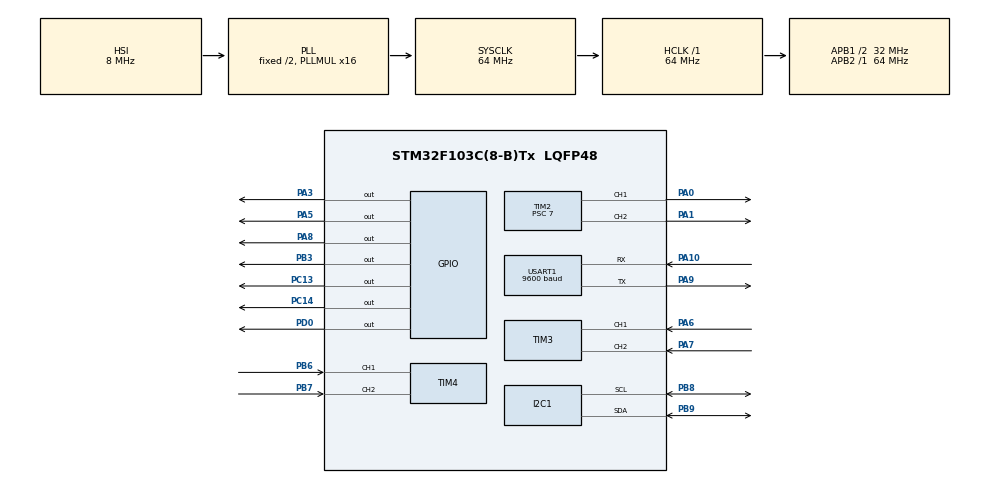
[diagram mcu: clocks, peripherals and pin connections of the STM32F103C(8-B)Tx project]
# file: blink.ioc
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Dma.Request0=USART1_TX
Dma.USART1_TX.0.Direction=DMA_MEMORY_TO_PERIPH
Dma.USART1_TX.0.Instance=DMA1_Channel4
Dma.USART1_TX.0.MemDataAlignment=DMA_MDATAALIGN_BYTE
Dma.USART1_TX.0.MemInc=DMA_MINC_ENABLE
Dma.USART1_TX.0.Mode=DMA_NORMAL
Dma.USART1_TX.0.PeriphDataAlignment=DMA_PDATAALIGN_BYTE
Dma.USART1_TX.0.PeriphInc=DMA_PINC_DISABLE
Dma.USART1_TX.0.Priority=DMA_PRIORITY_LOW
Mcu.Family=STM32F1
Mcu.Name=STM32F103C(8-B)Tx
Mcu.Package=LQFP48
NVIC.DMA1_Channel4_IRQn=true\:0\:0\:false\:false\:true\:false\:true
NVIC.PriorityGroup=NVIC_PRIORITYGROUP_4
NVIC.TIM1_UP_IRQn=true\:0\:0\:true\:false\:true\:true\:true
NVIC.USART1_IRQn=true\:0\:0\:false\:false\:true\:true\:true
PA0-WKUP.Signal=S_TIM2_CH1_ETR
PA1.Signal=S_TIM2_CH2
PA10.Mode=Asynchronous
PA10.Signal=USART1_RX
PA13.Mode=Serial_Wire
PA13.Signal=SYS_JTMS-SWDIO
PA14.Mode=Serial_Wire
PA14.Signal=SYS_JTCK-SWCLK
PA3.Signal=GPIO_Output
PA5.Signal=GPIO_Output
PA6.Signal=S_TIM3_CH1
PA7.Signal=S_TIM3_CH2
PA8.GPIO_PuPd=GPIO_PULLUP
PA8.Signal=GPIO_Output
PA9.Mode=Asynchronous
PA9.Signal=USART1_TX
PB3.Signal=GPIO_Output
PB6.Signal=S_TIM4_CH1
PB7.Signal=S_TIM4_CH2
PB8.Mode=I2C
PB8.Signal=I2C1_SCL
PB9.Mode=I2C
PB9.Signal=I2C1_SDA
PC13-TAMPER-RTC.Signal=GPIO_Output
PC14-OSC32_IN.GPIO_PuPd=GPIO_PULLDOWN
PC14-OSC32_IN.Signal=GPIO_Output
PD0-OSC_IN.GPIO_PuPd=GPIO_PULLDOWN
PD0-OSC_IN.Signal=GPIO_Output
ProjectManager.HeapSize=0x200
ProjectManager.StackSize=0x400
ProjectManager.TargetToolchain=STM32CubeIDE
RCC.AHBFreq_Value=64000000
RCC.APB1CLKDivider=RCC_HCLK_DIV2
RCC.APB1Freq_Value=32000000
RCC.APB1TimFreq_Value=64000000
RCC.APB2Freq_Value=64000000
RCC.APB2TimFreq_Value=64000000
RCC.HCLKFreq_Value=64000000
RCC.PLLMUL=RCC_PLL_MUL16
RCC.SYSCLKFreq_VALUE=64000000
RCC.SYSCLKSource=RCC_SYSCLKSOURCE_PLLCLK
RCC.USBFreq_Value=64000000
SH.S_TIM2_CH1_ETR.0=TIM2_CH1,PWM Generation1 CH1
SH.S_TIM2_CH2.0=TIM2_CH2,PWM Generation2 CH2
SH.S_TIM3_CH1.0=TIM3_CH1,Encoder_Interface
SH.S_TIM3_CH2.0=TIM3_CH2,Encoder_Interface
SH.S_TIM4_CH1.0=TIM4_CH1,Encoder_Interface
SH.S_TIM4_CH2.0=TIM4_CH2,Encoder_Interface
TIM1.Period=1999
TIM1.Prescaler=63
TIM2.Channel-PWM\ Generation1\ CH1=TIM_CHANNEL_1
TIM2.Channel-PWM\ Generation2\ CH2=TIM_CHANNEL_2
TIM2.Period=1999
TIM2.Prescaler=7
TIM3.AutoReloadPreload=TIM_AUTORELOAD_PRELOAD_ENABLE
TIM3.EncoderMode=TIM_ENCODERMODE_TI12
TIM3.IC1Filter=10
TIM4.AutoReloadPreload=TIM_AUTORELOAD_PRELOAD_ENABLE
TIM4.EncoderMode=TIM_ENCODERMODE_TI12
TIM4.IC1Filter=10
USART1.BaudRate=9600
USART1.VirtualMode=VM_ASYNC
VP_TIM1_VS_ClockSourceINT.Mode=Internal
VP_TIM2_VS_ClockSourceINT.Mode=Internal
board=custom

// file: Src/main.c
/* USER CODE BEGIN Header */
/**
  ******************************************************************************
  * @file           : main.c
  * @brief          : Main program body
  ******************************************************************************
  * @attention
  *
  * <h2><center>&copy; Copyright (c) 2019 STMicroelectronics.
  * All rights reserved.</center></h2>
  *
  * This software component is licensed by ST under BSD 3-Clause license,
  * the "License"; You may not use this file except in compliance with the
  * License. You may obtain a copy of the License at:
  *                        opensource.org/licenses/BSD-3-Clause
  *
  ******************************************************************************
  */
/* USER CODE END Header */
#include "main.h"

/* USER CODE BEGIN Includes */
#include "string.h"
#include <define.h>
#include <mpu6050.h>
#include <pid.h>
#include "SBR1_fis.h"
// #include "median.h"
/* USER CODE END Includes */

/* USER CODE BEGIN PTD */
typedef enum {
	MOTOR1, // = 0
	MOTOR2  // = 1
} motor_id_e;
typedef enum {
	CW, //ClockWise = 0
	CCW //CounterClockWise = 1
} motor_dir_e;

/* USER CODE END PTD */

I2C_HandleTypeDef hi2c1;

TIM_HandleTypeDef htim1;
TIM_HandleTypeDef htim2;
TIM_HandleTypeDef htim3;
TIM_HandleTypeDef htim4;

UART_HandleTypeDef huart1;
DMA_HandleTypeDef hdma_usart1_tx;

/* USER CODE BEGIN PV */
MPU6050_t mpu_data;
//pid_params_t pid_mtr1;
//pid_params_t pid_mtr2;
//pid_params_t pid_balance;
motor_id_e motor_name;
motor_dir_e motor1_dir, motor2_dir;

uint8_t RX_buff[UART_RX_BUFF_SIZE] = {'\0'};
uint8_t count = 0, count_bl = 0;
//uint16_t pre_enc1 = 0, pre_enc2 = 0;
//float speed1[MAX_COUNT] = {0}, speed2[MAX_COUNT] = {0}, act_speed1, act_speed2;
char MSG[50] = {'\0'};
int16_t dx1, dx2;
//float KP = 20, KI=0, KD=0, SP = 0, SP_mtr1 = -500, SP_mtr2 = 50;
float K1 = K_IN0, K2 = K_IN1, Ku = K_OUT_FUZZY;
uint8_t enable = 0;
int16_t pidval_mtr1, pidval_mtr2;
float inp_fuzzy[2], out_fuzzy;
float inp_pid_mtr;
uint16_t cnt_sp = 0;
float roll, pre_roll, roll_dot;
/* USER CODE END PV */

void SystemClock_Config(void);
static void MX_GPIO_Init(void);
static void MX_DMA_Init(void);
static void MX_I2C1_Init(void);
static void MX_TIM3_Init(void);
static void MX_TIM4_Init(void);
static void MX_USART1_UART_Init(void);
static void MX_TIM2_Init(void);
static void MX_TIM1_Init(void);
/* USER CODE BEGIN PFP */
void app_init(void);
void run_motor(motor_id_e mtr_name, motor_dir_e mtr_dir, uint16_t duty);
int atoi(const char *str);
/* USER CODE END PFP */

int main(void)
{

  /* MCU Configuration--------------------------------------------------------*/

  /* Reset of all peripherals, Initializes the Flash interface and the Systick. */
  HAL_Init();

  /* Configure the system clock */
  SystemClock_Config();

  /* Initialize all configured peripherals */
  MX_GPIO_Init();
  MX_DMA_Init();
  MX_I2C1_Init();
  MX_TIM3_Init();
  MX_TIM4_Init();
  MX_USART1_UART_Init();
  MX_TIM2_Init();
  MX_TIM1_Init();
  /* USER CODE BEGIN 2 */
  app_init();
  SBR1_init();

  HAL_UART_Transmit_DMA(&huart1, "OK\r\n", 4);
  /* USER CODE END 2 */

  /* Infinite loop */
  while (1)
  {

  }
}

void SystemClock_Config(void)
{
  RCC_OscInitTypeDef RCC_OscInitStruct = {0};
  RCC_ClkInitTypeDef RCC_ClkInitStruct = {0};

  /** Initializes the RCC Oscillators according to the specified parameters
  * in the RCC_OscInitTypeDef structure.
  */
  RCC_OscInitStruct.OscillatorType = RCC_OSCILLATORTYPE_HSI;
  RCC_OscInitStruct.HSIState = RCC_HSI_ON;
  RCC_OscInitStruct.HSICalibrationValue = RCC_HSICALIBRATION_DEFAULT;
  RCC_OscInitStruct.PLL.PLLState = RCC_PLL_ON;
  RCC_OscInitStruct.PLL.PLLSource = RCC_PLLSOURCE_HSI_DIV2;
  RCC_OscInitStruct.PLL.PLLMUL = RCC_PLL_MUL16;
  if (HAL_RCC_OscConfig(&RCC_OscInitStruct) != HAL_OK)
  {
    Error_Handler();
  }
  /** Initializes the CPU, AHB and APB buses clocks
  */
  RCC_ClkInitStruct.ClockType = RCC_CLOCKTYPE_HCLK|RCC_CLOCKTYPE_SYSCLK
                              |RCC_CLOCKTYPE_PCLK1|RCC_CLOCKTYPE_PCLK2;
  RCC_ClkInitStruct.SYSCLKSource = RCC_SYSCLKSOURCE_PLLCLK;
  RCC_ClkInitStruct.AHBCLKDivider = RCC_SYSCLK_DIV1;
  RCC_ClkInitStruct.APB1CLKDivider = RCC_HCLK_DIV2;
  RCC_ClkInitStruct.APB2CLKDivider = RCC_HCLK_DIV1;

  if (HAL_RCC_ClockConfig(&RCC_ClkInitStruct, FLASH_LATENCY_2) != HAL_OK)
  {
    Error_Handler();
  }
}

static void MX_I2C1_Init(void)
{

  hi2c1.Instance = I2C1;
  hi2c1.Init.ClockSpeed = 100000;
  hi2c1.Init.DutyCycle = I2C_DUTYCYCLE_2;
  hi2c1.Init.OwnAddress1 = 0;
  hi2c1.Init.AddressingMode = I2C_ADDRESSINGMODE_7BIT;
  hi2c1.Init.DualAddressMode = I2C_DUALADDRESS_DISABLE;
  hi2c1.Init.OwnAddress2 = 0;
  hi2c1.Init.GeneralCallMode = I2C_GENERALCALL_DISABLE;
  hi2c1.Init.NoStretchMode = I2C_NOSTRETCH_DISABLE;
  if (HAL_I2C_Init(&hi2c1) != HAL_OK)
  {
    Error_Handler();
  }

}

static void MX_TIM1_Init(void)
{

  TIM_ClockConfigTypeDef sClockSourceConfig = {0};
  TIM_MasterConfigTypeDef sMasterConfig = {0};

  htim1.Instance = TIM1;
  htim1.Init.Prescaler = 63;
  htim1.Init.CounterMode = TIM_COUNTERMODE_UP;
  htim1.Init.Period = 1999;
  htim1.Init.ClockDivision = TIM_CLOCKDIVISION_DIV1;
  htim1.Init.RepetitionCounter = 0;
  htim1.Init.AutoReloadPreload = TIM_AUTORELOAD_PRELOAD_DISABLE;
  if (HAL_TIM_Base_Init(&htim1) != HAL_OK)
  {
    Error_Handler();
  }
  sClockSourceConfig.ClockSource = TIM_CLOCKSOURCE_INTERNAL;
  if (HAL_TIM_ConfigClockSource(&htim1, &sClockSourceConfig) != HAL_OK)
  {
    Error_Handler();
  }
  sMasterConfig.MasterOutputTrigger = TIM_TRGO_RESET;
  sMasterConfig.MasterSlaveMode = TIM_MASTERSLAVEMODE_DISABLE;
  if (HAL_TIMEx_MasterConfigSynchronization(&htim1, &sMasterConfig) != HAL_OK)
  {
    Error_Handler();
  }

}

static void MX_TIM2_Init(void)
{

  TIM_ClockConfigTypeDef sClockSourceConfig = {0};
  TIM_MasterConfigTypeDef sMasterConfig = {0};
  TIM_OC_InitTypeDef sConfigOC = {0};

  htim2.Instance = TIM2;
  htim2.Init.Prescaler = 7;
  htim2.Init.CounterMode = TIM_COUNTERMODE_UP;
  htim2.Init.Period = 1999;
  htim2.Init.ClockDivision = TIM_CLOCKDIVISION_DIV1;
  htim2.Init.AutoReloadPreload = TIM_AUTORELOAD_PRELOAD_DISABLE;
  if (HAL_TIM_Base_Init(&htim2) != HAL_OK)
  {
    Error_Handler();
  }
  sClockSourceConfig.ClockSource = TIM_CLOCKSOURCE_INTERNAL;
  if (HAL_TIM_ConfigClockSource(&htim2, &sClockSourceConfig) != HAL_OK)
  {
    Error_Handler();
  }
  if (HAL_TIM_PWM_Init(&htim2) != HAL_OK)
  {
    Error_Handler();
  }
  sMasterConfig.MasterOutputTrigger = TIM_TRGO_RESET;
  sMasterConfig.MasterSlaveMode = TIM_MASTERSLAVEMODE_DISABLE;
  if (HAL_TIMEx_MasterConfigSynchronization(&htim2, &sMasterConfig) != HAL_OK)
  {
    Error_Handler();
  }
  sConfigOC.OCMode = TIM_OCMODE_PWM1;
  sConfigOC.Pulse = 0;
  sConfigOC.OCPolarity = TIM_OCPOLARITY_HIGH;
  sConfigOC.OCFastMode = TIM_OCFAST_DISABLE;
  if (HAL_TIM_PWM_ConfigChannel(&htim2, &sConfigOC, TIM_CHANNEL_1) != HAL_OK)
  {
    Error_Handler();
  }
  if (HAL_TIM_PWM_ConfigChannel(&htim2, &sConfigOC, TIM_CHANNEL_2) != HAL_OK)
  {
    Error_Handler();
  }
  HAL_TIM_MspPostInit(&htim2);

}

static void MX_TIM3_Init(void)
{

  TIM_Encoder_InitTypeDef sConfig = {0};
  TIM_MasterConfigTypeDef sMasterConfig = {0};

  htim3.Instance = TIM3;
  htim3.Init.Prescaler = 0;
  htim3.Init.CounterMode = TIM_COUNTERMODE_UP;
  htim3.Init.Period = 65535;
  htim3.Init.ClockDivision = TIM_CLOCKDIVISION_DIV1;
  htim3.Init.AutoReloadPreload = TIM_AUTORELOAD_PRELOAD_ENABLE;
  sConfig.EncoderMode = TIM_ENCODERMODE_TI12;
  sConfig.IC1Polarity = TIM_ICPOLARITY_RISING;
  sConfig.IC1Selection = TIM_ICSELECTION_DIRECTTI;
  sConfig.IC1Prescaler = TIM_ICPSC_DIV1;
  sConfig.IC1Filter = 10;
  sConfig.IC2Polarity = TIM_ICPOLARITY_RISING;
  sConfig.IC2Selection = TIM_ICSELECTION_DIRECTTI;
  sConfig.IC2Prescaler = TIM_ICPSC_DIV1;
  sConfig.IC2Filter = 0;
  if (HAL_TIM_Encoder_Init(&htim3, &sConfig) != HAL_OK)
  {
    Error_Handler();
  }
  sMasterConfig.MasterOutputTrigger = TIM_TRGO_RESET;
  sMasterConfig.MasterSlaveMode = TIM_MASTERSLAVEMODE_DISABLE;
  if (HAL_TIMEx_MasterConfigSynchronization(&htim3, &sMasterConfig) != HAL_OK)
  {
    Error_Handler();
  }

}

static void MX_TIM4_Init(void)
{

  TIM_Encoder_InitTypeDef sConfig = {0};
  TIM_MasterConfigTypeDef sMasterConfig = {0};

  htim4.Instance = TIM4;
  htim4.Init.Prescaler = 0;
  htim4.Init.CounterMode = TIM_COUNTERMODE_UP;
  htim4.Init.Period = 65535;
  htim4.Init.ClockDivision = TIM_CLOCKDIVISION_DIV1;
  htim4.Init.AutoReloadPreload = TIM_AUTORELOAD_PRELOAD_ENABLE;
  sConfig.EncoderMode = TIM_ENCODERMODE_TI12;
  sConfig.IC1Polarity = TIM_ICPOLARITY_RISING;
  sConfig.IC1Selection = TIM_ICSELECTION_DIRECTTI;
  sConfig.IC1Prescaler = TIM_ICPSC_DIV1;
  sConfig.IC1Filter = 10;
  sConfig.IC2Polarity = TIM_ICPOLARITY_RISING;
  sConfig.IC2Selection = TIM_ICSELECTION_DIRECTTI;
  sConfig.IC2Prescaler = TIM_ICPSC_DIV1;
  sConfig.IC2Filter = 0;
  if (HAL_TIM_Encoder_Init(&htim4, &sConfig) != HAL_OK)
  {
    Error_Handler();
  }
  sMasterConfig.MasterOutputTrigger = TIM_TRGO_RESET;
  sMasterConfig.MasterSlaveMode = TIM_MASTERSLAVEMODE_DISABLE;
  if (HAL_TIMEx_MasterConfigSynchronization(&htim4, &sMasterConfig) != HAL_OK)
  {
    Error_Handler();
  }

}

static void MX_USART1_UART_Init(void)
{

  huart1.Instance = USART1;
  huart1.Init.BaudRate = 9600;
  huart1.Init.WordLength = UART_WORDLENGTH_8B;
  huart1.Init.StopBits = UART_STOPBITS_1;
  huart1.Init.Parity = UART_PARITY_NONE;
  huart1.Init.Mode = UART_MODE_TX_RX;
  huart1.Init.HwFlowCtl = UART_HWCONTROL_NONE;
  huart1.Init.OverSampling = UART_OVERSAMPLING_16;
  if (HAL_UART_Init(&huart1) != HAL_OK)
  {
    Error_Handler();
  }

}

static void MX_DMA_Init(void)
{

  /* DMA controller clock enable */
  __HAL_RCC_DMA1_CLK_ENABLE();

  /* DMA interrupt init */
  /* DMA1_Channel4_IRQn interrupt configuration */
  HAL_NVIC_SetPriority(DMA1_Channel4_IRQn, 0, 0);
  HAL_NVIC_EnableIRQ(DMA1_Channel4_IRQn);

}

static void MX_GPIO_Init(void)
{
  GPIO_InitTypeDef GPIO_InitStruct = {0};

  /* GPIO Ports Clock Enable */
  __HAL_RCC_GPIOC_CLK_ENABLE();
  __HAL_RCC_GPIOD_CLK_ENABLE();
  __HAL_RCC_GPIOA_CLK_ENABLE();
  __HAL_RCC_GPIOB_CLK_ENABLE();

  /*Configure GPIO pin Output Level */
  HAL_GPIO_WritePin(GPIOC, GPIO_PIN_13|GPIO_PIN_14, GPIO_PIN_RESET);

  /*Configure GPIO pin Output Level */
  HAL_GPIO_WritePin(GPIOD, GPIO_PIN_0, GPIO_PIN_RESET);

  /*Configure GPIO pin Output Level */
  HAL_GPIO_WritePin(GPIOA, GPIO_PIN_3|GPIO_PIN_5|GPIO_PIN_8, GPIO_PIN_RESET);

  /*Configure GPIO pin Output Level */
  HAL_GPIO_WritePin(GPIOB, GPIO_PIN_3, GPIO_PIN_RESET);

  /*Configure GPIO pin : PC13 */
  GPIO_InitStruct.Pin = GPIO_PIN_13;
  GPIO_InitStruct.Mode = GPIO_MODE_OUTPUT_PP;
  GPIO_InitStruct.Pull = GPIO_NOPULL;
  GPIO_InitStruct.Speed = GPIO_SPEED_FREQ_LOW;
  HAL_GPIO_Init(GPIOC, &GPIO_InitStruct);

  /*Configure GPIO pin : PC14 */
  GPIO_InitStruct.Pin = GPIO_PIN_14;
  GPIO_InitStruct.Mode = GPIO_MODE_OUTPUT_PP;
  GPIO_InitStruct.Pull = GPIO_PULLDOWN;
  GPIO_InitStruct.Speed = GPIO_SPEED_FREQ_LOW;
  HAL_GPIO_Init(GPIOC, &GPIO_InitStruct);

  /*Configure GPIO pin : PD0 */
  GPIO_InitStruct.Pin = GPIO_PIN_0;
  GPIO_InitStruct.Mode = GPIO_MODE_OUTPUT_PP;
  GPIO_InitStruct.Pull = GPIO_PULLDOWN;
  GPIO_InitStruct.Speed = GPIO_SPEED_FREQ_LOW;
  HAL_GPIO_Init(GPIOD, &GPIO_InitStruct);

  /*Configure GPIO pins : PA3 PA5 */
  GPIO_InitStruct.Pin = GPIO_PIN_3|GPIO_PIN_5;
  GPIO_InitStruct.Mode = GPIO_MODE_OUTPUT_PP;
  GPIO_InitStruct.Pull = GPIO_NOPULL;
  GPIO_InitStruct.Speed = GPIO_SPEED_FREQ_LOW;
  HAL_GPIO_Init(GPIOA, &GPIO_InitStruct);

  /*Configure GPIO pin : PA8 */
  GPIO_InitStruct.Pin = GPIO_PIN_8;
  GPIO_InitStruct.Mode = GPIO_MODE_OUTPUT_PP;
  GPIO_InitStruct.Pull = GPIO_PULLUP;
  GPIO_InitStruct.Speed = GPIO_SPEED_FREQ_LOW;
  HAL_GPIO_Init(GPIOA, &GPIO_InitStruct);

  /*Configure GPIO pin : PB3 */
  GPIO_InitStruct.Pin = GPIO_PIN_3;
  GPIO_InitStruct.Mode = GPIO_MODE_OUTPUT_PP;
  GPIO_InitStruct.Pull = GPIO_NOPULL;
  GPIO_InitStruct.Speed = GPIO_SPEED_FREQ_LOW;
  HAL_GPIO_Init(GPIOB, &GPIO_InitStruct);

  /*Configure peripheral I/O remapping */
  __HAL_AFIO_REMAP_PD01_ENABLE();

}

/* USER CODE BEGIN 4 */
void HAL_TIM_PeriodElapsedCallback(TIM_HandleTypeDef *htim) { //Timer 1: f=500Hz -> T = 0.002s
	if (htim->Instance == htim1.Instance) {

//		dx1 = (TIM3->CNT) - pre_enc1;
//		dx2 = (TIM4->CNT) - pre_enc2;
//		pre_enc1 = TIM3->CNT;
//		pre_enc2 = TIM4->CNT;
////		if (dx1>400) dx1 = dx1 - 65535;
////			else if (dx1<-400) dx1 = dx1 + 65535;
////		if (dx2>400) dx2 = dx2 - 65535;
////			else if (dx2<-400) dx2 = dx2 + 65535;
//		speed1[count] = SPEED_SCALE*dx1/0.002f;
//		speed2[count] = SPEED_SCALE*dx2/0.002f;

		count++;
		if (count>=MAX_COUNT) {
			count = 0;
			cnt_sp ++;
			if (cnt_sp>=50) {

				sprintf(MSG, "%d\n\r", (int16_t)inp_pid_mtr);//(int16_t)((float)(roll-(int16_t)roll)*100)
				HAL_UART_Transmit_DMA(&huart1, &MSG, (uint16_t) sizeof(MSG));
				cnt_sp = 0;
//			sprintf(MSG, "%d  -  %d\n\r", (int16_t)inp_pid_mtr, (int16_t)act_speed1);//(int16_t)((float)(roll-(int16_t)roll)*100)
//			HAL_UART_Transmit_DMA(&huart1, &MSG, (uint16_t) sizeof(MSG));
			}

				MPU6050_Read_All(&mpu_data);
				pre_roll = roll;
				roll = mpu_data.KalmanAngleY+ROLL_OFFSET;
				roll_dot = mpu_data.Gy;
//				roll_dot = (roll-pre_roll)/0.010f;
				inp_fuzzy[0] = roll/K1;
				inp_fuzzy[1] = roll_dot/K2;

				SBR1_run(inp_fuzzy, &out_fuzzy);

				if (((roll<=-40) || (roll>=40)) && (enable==1)) {
					enable = 0;
				} else if (((roll>=-40) && (roll<=40)) && (enable==0)) enable = 1;

			inp_pid_mtr = out_fuzzy*Ku;
			if (inp_pid_mtr<=-1999) {
				pidval_mtr1 = -1999;
				pidval_mtr2 = -1999;
			} else if (inp_pid_mtr>=1999) {
				pidval_mtr1 = 1999;
				pidval_mtr2 = 1999;
			}
			else{
				pidval_mtr1 = inp_pid_mtr;
				pidval_mtr2 = inp_pid_mtr;
			}

			if (pidval_mtr1 >= 0) motor1_dir = CW;
				else {
					motor1_dir = CCW;
					pidval_mtr1 = -pidval_mtr1;
				}
			if (pidval_mtr2 >= 0) motor2_dir = CCW;
				else {
					motor2_dir = CW;
					pidval_mtr2 = -pidval_mtr2;
				}
			if (enable==1) {
				run_motor(MOTOR1, motor1_dir, pidval_mtr1);
				run_motor(MOTOR2, motor2_dir, pidval_mtr2);
			} else {
				run_motor(MOTOR1, motor1_dir, 0);
				run_motor(MOTOR2, motor2_dir, 0);
			}
		}
	}
}
void HAL_UART_RxCpltCallback(UART_HandleTypeDef *huart)
{
	if (huart->Instance == huart1.Instance) {
		HAL_GPIO_TogglePin(GPIOA, GPIO_PIN_8);
	   char *arg_list[6];
	   uint8_t arg_num = 0;
	   char *temp_token = strtok((char*)RX_buff, " ");
	   while (temp_token != NULL) {
		   arg_list[arg_num] = temp_token;
		   arg_num ++;
		   temp_token = strtok(NULL, " ");
	   }
	   if (strstr(arg_list[0], "K1") != NULL) {
		   K1 = (float)atoi(arg_list[1]);
	   } else if (strstr(arg_list[0], "START/STOPPPPPPPPPPP")!= NULL) {
		   if (enable==0) enable = 1;
		   else enable = 0;
		   HAL_UART_Transmit_DMA(&huart1, "ENB-OK", 6);
	   }
	   if (strstr(arg_list[2], "K2") != NULL) {
	   	   K2 = (float)atoi(arg_list[3]);
	   }
	   if (strstr(arg_list[4], "KU") != NULL) {
	   	   Ku = (float)atoi(arg_list[5]);
	   }
//		pid_init(&pid_mtr1, KP, KI, KD, -500, 500, -500, 500, -1999, 1999);
//		pid_init(&pid_mtr2, KP, KI, KD, -500, 500, -500, 500, -1999, 1999);
//	   pid_init(&pid_balance, KP, KI, KD, -500, 500, -500, 500, -750, 750);
	   sprintf(MSG, "K1 %d, K2 %d, KU %d\r\n", (int16_t)K1, (int16_t)K2, (int16_t)Ku);
	   HAL_UART_Transmit_DMA(&huart1,  MSG, strlen(MSG));
	   HAL_UART_Receive_IT(&huart1, (uint8_t*) &RX_buff, UART_RX_BUFF_SIZE);
	}
}
//void HAL_UART_TxCpltCallback(UART_HandleTypeDef *huart)
//{
//	if (huart->Instance == huart1.Instance) {
//		 HAL_UART_Transmit_DMA(&huart1, NULL, 0);
//	}
//}
void app_init(void) {
	HAL_TIM_PWM_Start(&htim2, TIM_CHANNEL_1);
	HAL_TIM_PWM_Start(&htim2, TIM_CHANNEL_2);
	__HAL_TIM_SET_COMPARE(&MTR1_PWM_TIMER, MTR1_PWM_CHANNEL, 0);
	__HAL_TIM_SET_COMPARE(&MTR2_PWM_TIMER, MTR2_PWM_CHANNEL, 0);

	HAL_UART_Receive_IT(&huart1, (uint8_t*) &RX_buff, UART_RX_BUFF_SIZE);
	HAL_TIM_Encoder_Start_IT(&htim3, TIM_CHANNEL_ALL);
	__HAL_TIM_SET_COUNTER(&htim3, 0);
	HAL_TIM_Encoder_Start_IT(&htim4, TIM_CHANNEL_ALL);
	__HAL_TIM_SET_COUNTER(&htim4, 0);
	HAL_GPIO_WritePin(GPIOD, GPIO_PIN_0, 0);
	HAL_GPIO_WritePin(GPIOC, GPIO_PIN_14, 0);

	MPU6050_Init();
//	pid_init(&pid_mtr1, KP2_MTR, KI2_MTR, KD2_MTR, -1000, 1000, -1000, 1000, -1999, 1999);
//	pid_init(&pid_mtr2, KP2_MTR, KI2_MTR, KD2_MTR, -1000, 1000, -1000, 1000, -1999, 1999);
//	pid_init(&pid_balance, KP_BLC, KI_BLC, KD_BLC, -500, 500, -500, 500, -750, 750);

	HAL_TIM_Base_Start_IT(&htim1);
}
void run_motor(motor_id_e mtr_name, motor_dir_e mtr_dir, uint16_t duty) {
	if (mtr_name == MOTOR1) {
		if (mtr_dir == CCW) {
			HAL_GPIO_WritePin(MTR1_DIR_GPIO_PORT, MTR1_DIR_GPIO_PIN, 0);
			__HAL_TIM_SET_COMPARE(&MTR1_PWM_TIMER, MTR1_PWM_CHANNEL, duty);
		}
		else {
			HAL_GPIO_WritePin(MTR1_DIR_GPIO_PORT, MTR1_DIR_GPIO_PIN, 1);
			__HAL_TIM_SET_COMPARE(&MTR1_PWM_TIMER, MTR1_PWM_CHANNEL, PWM_CNT_PERIOD - duty);
		}
	}
	else if (mtr_name == MOTOR2) {
		if (mtr_dir == CW) {
			HAL_GPIO_WritePin(MTR2_DIR_GPIO_PORT, MTR2_DIR_GPIO_PIN, 0);
			__HAL_TIM_SET_COMPARE(&MTR2_PWM_TIMER, MTR2_PWM_CHANNEL, duty);
		}
		else {
			HAL_GPIO_WritePin(MTR2_DIR_GPIO_PORT, MTR2_DIR_GPIO_PIN, 1);
			__HAL_TIM_SET_COMPARE(&MTR2_PWM_TIMER, MTR2_PWM_CHANNEL, PWM_CNT_PERIOD - duty);
		}
	}
}
/* USER CODE END 4 */

void Error_Handler(void)
{
}

/************************ (C) COPYRIGHT STMicroelectronics *****END OF FILE****/
